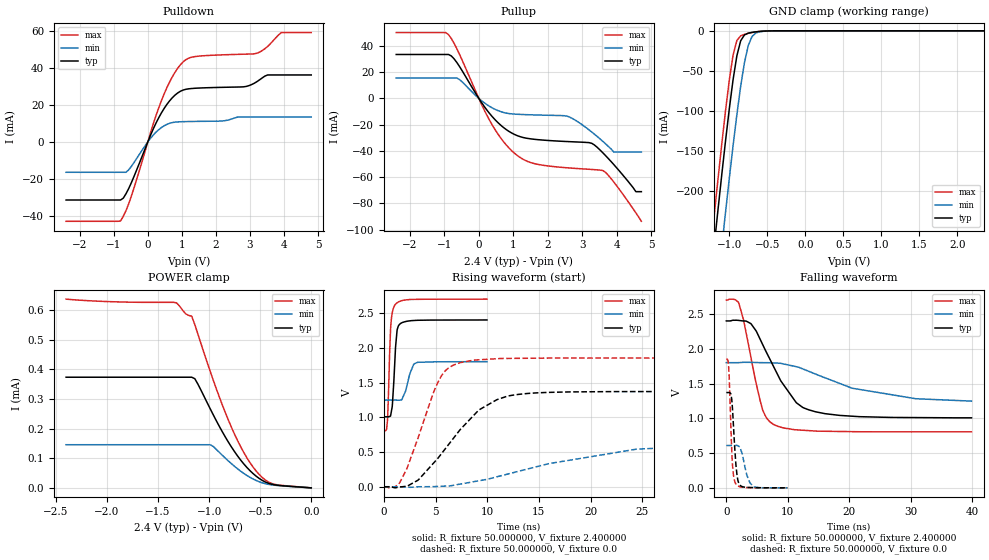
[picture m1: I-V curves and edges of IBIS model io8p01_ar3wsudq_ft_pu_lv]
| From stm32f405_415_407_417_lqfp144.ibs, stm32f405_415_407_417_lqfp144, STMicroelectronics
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|   Model io8p01_ar3wsudq_ft_pu_lv
[Model]  io8p01_ar3wsudq_ft_pu_lv
Model_type I/O
Polarity   Non-Inverting
Enable   Active-Low
Vinl =   0.720000V
Vinh =   1.680000V
Vmeas =  1.200000V
Cref =   50.000000pF
Rref =   100.000000M
Vref =   0.0V
C_comp   3.720900pF   3.684200pF   3.822900pF
[Temperature Range]   25.000000   0.125000k   -40.000000
[Pullup Reference]   2.400000V   1.800000V   2.700000V
[Pulldown Reference]   0.0V   0.0V   0.0V
[POWER Clamp Reference]   2.400000V   1.800000V   2.700000V
[GND Clamp Reference]   0.0V   0.0V   0.0V
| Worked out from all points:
|   slope of the pulldown table from 0 to 0.36 V, typ, clamps not added: 25 ohm
|   slope of the pullup table from 0 to 0.36 V, typ, clamps not added: 27.7 ohm
|   GND clamp passes 1 mA (typ) near -0.62 V on its own axis
|   rising waveform, R_fixture 50.000000, V_fixture 2.400000: 20-80 % time 330ps typ, 644ps min, 262ps max; typ from 1.01 V to 2.4 V
|   rising waveform, R_fixture 50.000000, V_fixture 0.0: 20-80 % time 4.73ns typ, 11.9ns min, 2.67ns max; typ from 0.001 V to 1.37 V
|   falling waveform, R_fixture 50.000000, V_fixture 2.400000: 20-80 % time 5.31ns typ, 12.6ns min, 2.7ns max; typ from 2.4 V to 1.01 V
|   falling waveform, R_fixture 50.000000, V_fixture 0.0: 20-80 % time 594ps typ, 1.03ns min, 462ps max; typ from 1.37 V to 0.001 V
[Pulldown]
|Voltage   I(typ)   I(min)   I(max)
-2.4V     -31.47mA   -16.45mA   -43.01mA
-800mV    -31.47mA   -16.45mA   -42.85mA
-480mV    -21.98mA   -13.17mA   -29.21mA
80mV      3.63mA     1.966mA    5.014mA
480mV     18.16mA    8.738mA    26.02mA
800mV     25.38mA    10.72mA    37.77mA
1.12V     28.53mA    11.02mA    44.6mA
2.8V      29.84mA    13.47mA    47.53mA
3.2V      32.6mA     13.47mA    48.03mA
3.52V     36.29mA    13.47mA    51.75mA
3.92V     36.29mA    13.47mA    59.26mA
4.8V      36.29mA    13.47mA    59.26mA
[Pullup]
|Voltage   I(typ)   I(min)   I(max)
-2.4V     33.5mA     15.56mA    50.21mA
-960mV    33.5mA     15.56mA    50.21mA
-560mV    24.27mA    14.3mA     33.51mA
320mV     -11.75mA   -6.207mA   -17.08mA
960mV     -26.47mA   -11.82mA   -40.02mA
1.52V     -30.88mA   -12.51mA   -49.05mA
2.56V     -32.88mA   -13.52mA   -52.9mA
3.28V     -34.25mA   -25.64mA   -54.17mA
3.6V      -41.44mA   -32.74mA   -55.02mA
3.92V     -50.46mA   -40.9mA    -63.78mA
4.56V     -71.1mA    -40.9mA    -87.26mA
4.72V     -71.1mA    -40.9mA    -93.7mA
[GND_clamp]
|Voltage   I(typ)   I(min)   I(max)
-2.4V     -1.43A     -1.515A    -1.399A
-1.25V    -315.9mA   -407.2mA   -278.2mA
-1.2V     -270.1mA   -361.3mA   -232.1mA
-1.15V    -225mA     -316mA     -186.8mA
-1.1V     -180.9mA   -271.3mA   -142.7mA
-1.05V    -138.2mA   -227.5mA   -100.5mA
-950mV    -61.14mA   -143.6mA   -30.43mA
-900mV    -31.23mA   -104.7mA   -12.14mA
-850mV    -12.49mA   -69.4mA    -6.221mA
-750mV    -2.898mA   -18.35mA   -3.18mA
-600mV    -750.2uA   -1.218mA   -738.3uA
2.35V     0A         0A         0A
[POWER_clamp]
|Voltage   I(typ)   I(min)   I(max)
-2.4V     373.1uA    145.5uA    636.5uA
-1.32V    373.1uA    145.5uA    624.2uA
-1.23V    373.1uA    145.5uA    587.2uA
-1.17V    373.1uA    145.5uA    579uA
-1.14V    368.3uA    145.5uA    550.7uA
-990mV    267.3uA    145.5uA    393.9uA
-810mV    153.6uA    90.29uA    227.7uA
-690mV    93.37uA    55.97uA    138.2uA
-570mV    48.37uA    29.94uA    70.44uA
-480mV    25.27uA    17.04uA    35.17uA
-390mV    12.49uA    10.18uA    15.16uA
0V        0A         0A         0A
[Ramp]
| variable   typ   min   max
dV/dt_r  0.82207/4.72862n   0.36540/11.89681n   1.11083/2.66726n
dV/dt_f  0.83604/5.30747n   0.32304/13.46437n   1.13706/2.70224n
R_load = 50.000000
[Rising Waveform]
R_fixture= 50.000000
V_fixture= 2.400000
V_fixture_min= 1.800000
V_fixture_max= 2.700000
|time   V(typ)   V(min)   V(max)
0s        1.007V     1.247V     805.8mV
340.3ps   1.007V     1.247V     952.4mV
640.6ps   1.02V      1.247V     2.264V
820.8ps   1.189V     1.247V     2.513V
1.081ns   1.885V     1.247V     2.619V
1.281ns   2.262V     1.246V     2.647V
1.822ns   2.365V     1.286V     2.683V
2.883ns   2.392V     1.763V     2.696V
3.263ns   2.395V     1.791V     2.697V
9.97ns    2.4V       1.8V       2.7V
[Rising Waveform]
R_fixture= 50.000000
V_fixture= 0.0
V_fixture_min= 0.0
V_fixture_max= 0.0
|time   V(typ)   V(min)   V(max)
0s        1.058mV    912.7uV    1.36mV
1.522ns   -1.796mV   978.9uV    58.52mV
3.283ns   94.32mV    755.9uV    696.3mV
5.205ns   407.6mV    5.629mV    1.497V
6.086ns   575.8mV    11.51mV    1.689V
7.367ns   820.7mV    38.96mV    1.785V
9.209ns   1.107V     87.48mV    1.827V
13.37ns   1.335V     236.1mV    1.849V
24.42ns   1.37V      541.3mV    1.852V
39.88ns   1.371V     610.2mV    1.852V
[Falling Waveform]
R_fixture= 50.000000
V_fixture= 2.400000
V_fixture_min= 1.800000
V_fixture_max= 2.700000
|time   V(typ)   V(min)   V(max)
0s        2.4V       1.8V       2.7V
2.002ns   2.407V     1.801V     2.664V
2.803ns   2.4V       1.805V     2.412V
4.004ns   2.36V      1.804V     1.877V
5.846ns   2.072V     1.801V     1.14V
7.688ns   1.744V     1.796V     913mV
11.37ns   1.226V     1.742V     834.9mV
14.49ns   1.095V     1.637V     817.6mV
20.5ns    1.031V     1.433V     808.8mV
39.88ns   1.007V     1.247V     805.8mV
[Falling Waveform]
R_fixture= 50.000000
V_fixture= 0.0
V_fixture_min= 0.0
V_fixture_max= 0.0
|time   V(typ)   V(min)   V(max)
0s        1.371V     610.2mV    1.852V
380.4ps   1.371V     610.2mV    1.736V
880.9ps   1.273V     610mV      544.5mV
1.121ns   955.6mV    609.7mV    211.5mV
1.481ns   430.2mV    610.4mV    67.59mV
1.762ns   167.4mV    610.2mV    34.19mV
2.122ns   52.66mV    594mV      18.53mV
3.323ns   8.052mV    186.9mV    5.117mV
4.484ns   4.244mV    15.81mV    2.894mV
9.97ns    1.058mV    912.7uV    1.36mV
